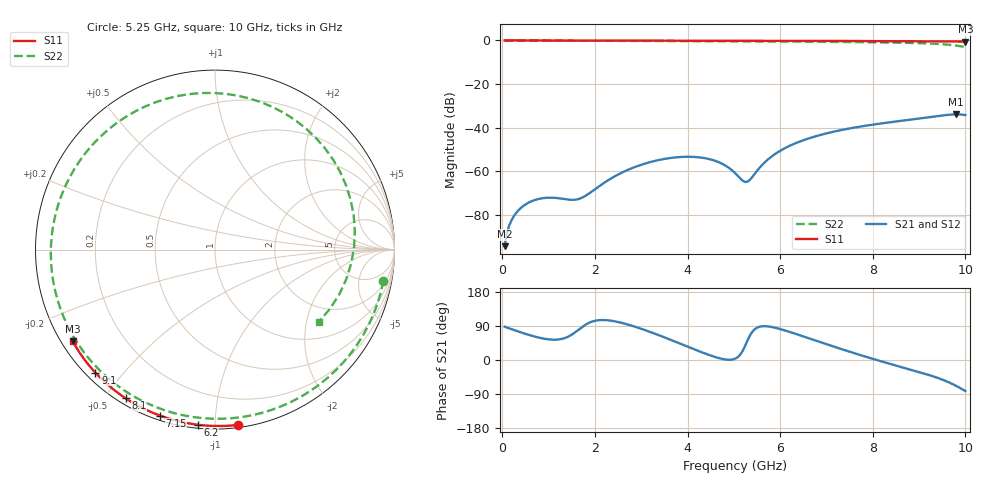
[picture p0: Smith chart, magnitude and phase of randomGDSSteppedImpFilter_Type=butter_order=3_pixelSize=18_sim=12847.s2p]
! freq	dB(S11)	phase(S11)	dB(S12)	phase(S12)
!  dB(S21)	phase(S21)	dB(S22)	phase(S22)
!S-par simulation data
#  GHz  S  DB  R 50
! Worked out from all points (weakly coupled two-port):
!   200 points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, 50 MHz to 10 GHz, reference 50 ohm
!   highest |S21| = -33.89 dB at 9.8 GHz (marker M1); lowest = -94.3 dB at 50 MHz (marker M2)
!   lowest |S11| = -0.5 dB at 10 GHz (marker M3), VSWR 33.83, Z = 1.61 - j14.7 ohm
!   |S11| at or under -10 dB: nowhere
!   |S22| runs from -3.0 to 0.0 dB; largest |S21 - S12| = 0
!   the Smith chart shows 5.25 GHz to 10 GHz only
!   S11 on the Smith chart (normalised r, x): 5.25 GHz: 0.02, -1.14; 6.2 GHz: 0.02, -0.91; 7.15 GHz: 0.02, -0.72; 8.1 GHz: 0.02, -0.57; 9.1 GHz: 0.03, -0.42; 10 GHz: 0.03, -0.29
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0.05  -0.00 -0.8  -94.29 87.8  -94.29 87.8  -0.00 -3.6
0.95  -0.02 -15.8  -72.12 55.3  -72.12 55.3  -0.09 -66.6
1.75  -0.04 -29.0  -71.78 89.4  -71.78 89.4  -0.14 -119.0
2.6  -0.05 -42.6  -60.40 97.3  -60.40 97.3  -0.19 -172.8
3.4  -0.07 -55.0  -54.71 64.6  -54.71 64.6  -0.25 133.9
3.8  -0.08 -61.1  -53.49 45.3  -53.49 45.3  -0.29 104.8
4.2  -0.09 -67.1  -53.47 25.6  -53.47 25.6  -0.33 74.0
4.65  -0.11 -73.7  -55.59 5.9  -55.59 5.9  -0.37 37.9
5.05  -0.12 -79.5  -61.28 4.8  -61.28 4.8  -0.40 5.5
5.25  -0.13 -82.4  -64.88 39.0  -64.88 39.0  -0.41 -10.5
5.75  -0.15 -89.4  -54.30 88.5  -54.30 88.5  -0.44 -48.7
6.2  -0.17 -95.6  -48.35 74.3  -48.35 74.3  -0.49 -80.7
6.7  -0.20 -102.4  -44.34 54.0  -44.34 54.0  -0.57 -114.0
7.15  -0.23 -108.4  -41.84 35.7  -41.84 35.7  -0.66 -142.9
7.65  -0.26 -115.0  -39.76 16.1  -39.76 16.1  -0.76 -175.3
8.1  -0.30 -121.0  -38.28 -0.6  -38.28 -0.6  -0.87 153.8
8.35  -0.32 -124.3  -37.56 -9.4  -37.56 -9.4  -0.95 135.5
8.75  -0.36 -129.5  -36.47 -23.1  -36.47 -23.1  -1.10 103.8
9.1  -0.39 -134.2  -35.50 -35.3  -35.50 -35.3  -1.30 72.7
9.5  -0.44 -139.7  -34.38 -51.7  -34.38 -51.7  -1.72 31.6
9.8  -0.48 -144.0  -33.89 -68.3  -33.89 -68.3  -2.34 -5.5
10  -0.51 -147.1  -34.19 -81.8  -34.19 -81.8  -3.05 -35.0
